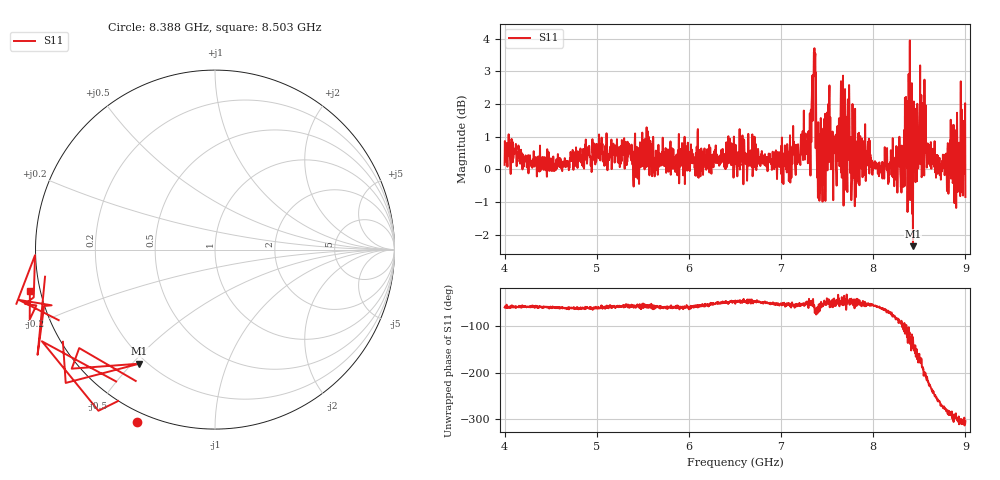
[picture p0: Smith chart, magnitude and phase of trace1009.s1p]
! Created with skrf 1.8.0 (http://scikit-rf.org).
# Hz S RI R 50.0
!freq ReS11 ImS11
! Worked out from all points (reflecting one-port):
!   1601 points, 4 GHz to 9 GHz, reference 50 ohm
!   lowest |S11| = -2.4 dB at 8.431 GHz (marker M1), VSWR 7.43, Z = 8.63 - j26.2 ohm
!   phase of S11 starts at -59 deg and turns -247 deg over the sweep
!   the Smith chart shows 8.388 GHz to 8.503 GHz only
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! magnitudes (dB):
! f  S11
! 4 GHz  0.1
! 4.625 GHz  -0.1
! 5.25 GHz  0.1
! 5.875 GHz  -0.2
! 6.5 GHz  0.4
! 7.125 GHz  0.7
! 7.294 GHz  0.8
! 7.356 GHz  3.6
! 7.384 GHz  1.2
! 7.4 GHz  -0.9
! 7.425 GHz  0.0
! 7.509 GHz  0.4
! 7.578 GHz  1.0
! 7.669 GHz  2.5
! 7.75 GHz  -0.1
! 7.784 GHz  0.5
! 7.878 GHz  0.9
! 8.075 GHz  0.1
! 8.316 GHz  0.5
! 8.334 GHz  1.2
! 8.375 GHz  0.2
! 8.412 GHz  0.8
! 8.431 GHz  -2.4
! 8.531 GHz  1.4
! 8.597 GHz  0.2
! 8.8 GHz  -0.7
! 8.972 GHz  0.5
! 9 GHz  -0.8
